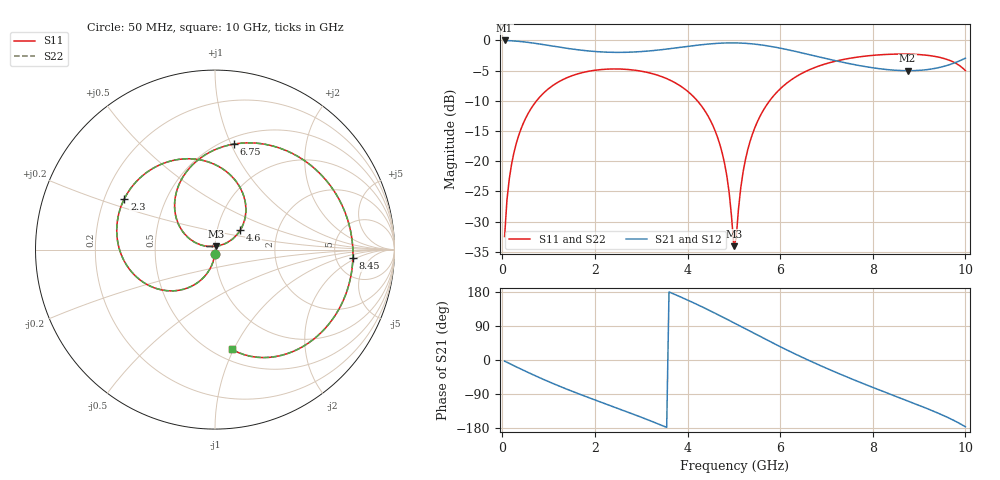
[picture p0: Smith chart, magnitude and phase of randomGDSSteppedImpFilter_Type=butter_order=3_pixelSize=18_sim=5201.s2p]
! freq	dB(S11)	phase(S11)	dB(S12)	phase(S12)
!  dB(S21)	phase(S21)	dB(S22)	phase(S22)
!S-par simulation data
#  GHz  S  DB  R 50
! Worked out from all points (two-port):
!   200 points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, 50 MHz to 10 GHz, reference 50 ohm
!   highest |S21| = -0.01 dB at 50 MHz (marker M1); lowest = -5.0 dB at 8.75 GHz (marker M2)
!   |S21| within 3 dB of the highest: start of sweep to 6.992 GHz; 9.981958 GHz to end of sweep
!   lowest |S11| = -34.1 dB at 5 GHz (marker M3), VSWR 1.04, Z = 50.5 + j1.91 ohm
!   |S11| at or under -10 dB: start of sweep to 740.6 MHz; 4.211 GHz to 5.773 GHz (1.562 GHz wide, 31.3 % of centre)
!   |S22| runs from -34.5 to -2.3 dB; largest |S21 - S12| = 0
!   S11 on the Smith chart (normalised r, x): 50 MHz: 1.00, -0.05; 2.3 GHz: 0.28, +0.24; 4.6 GHz: 1.29, +0.29; 6.75 GHz: 0.56, +1.02; 8.45 GHz: 7.31, -1.64; 10 GHz: 0.60, -0.98
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0.05  -32.48 -93.0  -0.01 -3.0  -0.01 -3.0  -32.48 -93.0
0.2  -20.53 -102.4  -0.06 -12.0  -0.06 -12.0  -20.53 -102.4
0.5  -12.96 -120.1  -0.27 -29.6  -0.27 -29.6  -12.96 -120.1
1.1  -7.42 -152.8  -0.95 -62.3  -0.95 -62.3  -7.42 -152.8
1.75  -5.29 175.6  -1.66 -93.9  -1.66 -93.9  -5.29 175.5
2.3  -4.74 150.6  -1.96 -119.0  -1.96 -119.0  -4.74 150.5
3.4  -5.88 99.8  -1.57 -170.3  -1.57 -170.3  -5.88 99.7
4.05  -8.74 66.6  -0.94 155.4  -0.94 155.4  -8.74 66.5
4.6  -15.06 37.7  -0.51 123.1  -0.51 123.1  -15.06 37.3
4.85  -22.50 30.4  -0.42 107.6  -0.42 107.6  -22.53 29.5
5  -34.08 73.1  -0.41 98.1  -0.41 98.1  -34.55 71.5
5.05  -32.80 130.7  -0.41 94.9  -0.41 94.9  -33.15 132.4
5.2  -21.78 161.5  -0.46 85.4  -0.46 85.4  -21.81 162.2
5.5  -13.61 150.4  -0.66 66.2  -0.66 66.2  -13.62 150.7
6.1  -7.34 116.2  -1.43 29.1  -1.43 29.1  -7.34 116.3
6.7  -4.63 82.6  -2.48 -5.5  -2.48 -5.5  -4.63 82.7
6.75  -4.48 79.9  -2.57 -8.3  -2.57 -8.3  -4.48 80.0
7.45  -3.03 43.8  -3.78 -45.2  -3.78 -45.2  -3.03 43.8
8.35  -2.30 1.1  -4.86 -89.0  -4.86 -89.0  -2.30 1.1
8.45  -2.27 -3.4  -4.92 -93.7  -4.92 -93.7  -2.27 -3.4
8.75  -2.26 -17.0  -5.01 -107.8  -5.01 -107.8  -2.26 -17.1
10  -4.99 -80.5  -2.94 -176.3  -2.94 -176.3  -4.99 -80.4
